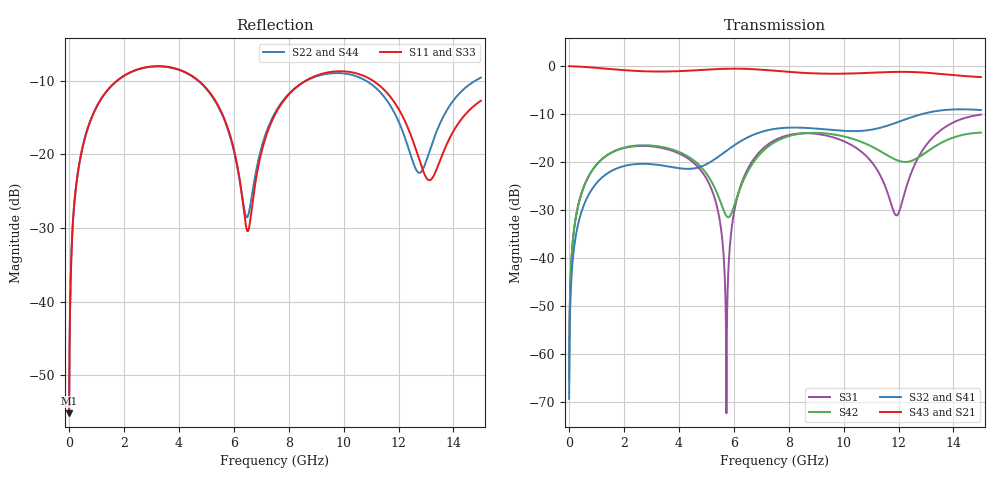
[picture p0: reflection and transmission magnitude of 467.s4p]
! Created with skrf 1.8.0 (http://scikit-rf.org).
# GHz S RI R 50.0
!freq ReS11 ImS11 ReS12 ImS12 ReS13 ImS13
! ReS14 ImS14
! ReS21 ImS21 ReS22 ImS22 ReS23 ImS23
! ReS24 ImS24
! ReS31 ImS31 ReS32 ImS32 ReS33 ImS33
! ReS34 ImS34
! ReS41 ImS41 ReS42 ImS42 ReS43 ImS43
! ReS44 ImS44
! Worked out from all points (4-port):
!   2499 points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, 5 MHz to 15 GHz, reference 50 ohm
!   strongest paths, dB at 5 MHz, 3.476 GHz, 7.19 GHz, 11.1 GHz, 15 GHz:
!     S43: 0.0, -1.1, -0.8, -1.4, -2.3
!     S21: 0.0, -1.1, -0.8, -1.4, -2.3
!     S32: -69.3, -20.8, -13.4, -13.2, -9.1
!     S41: -69.3, -20.8, -13.4, -13.2, -9.1
!     S42: -65.4, -16.9, -17.0, -17.0, -13.9
!     S31: -65.4, -17.2, -16.6, -20.5, -10.1
!   lowest |S11| = -55.2 dB at 5 MHz (marker M1), VSWR 1.00, Z = 50.1 + j0.106 ohm
!   |S11| at or under -10 dB: start of sweep to 1.744 GHz; 4.724 GHz to 8.613 GHz (3.889 GHz wide, 58.3 % of centre); 11.08 GHz to end of sweep
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0.005  0.00139 0.00106  0.9986 -0.0027  6.83e-05 0.000533  -6.65e-05 -0.000336
       0.9986 -0.0027  0.00139 0.00106  -6.65e-05 -0.000336  6.84e-05 0.000533
       6.83e-05 0.000533  -6.65e-05 -0.000336  0.00139 0.00106  0.9986 -0.0027
       -6.65e-05 -0.000336  6.84e-05 0.000533  0.9986 -0.0027  0.00139 0.00106
0.3126303  0.0182 0.0705  0.9754 -0.1692  0.00776 0.0322  -0.00659 -0.0202
           0.9754 -0.1692  0.0181 0.0705  -0.00659 -0.0202  0.00797 0.0321
           0.00776 0.0322  -0.00659 -0.0202  0.0182 0.0705  0.9754 -0.1692
           -0.00659 -0.0202  0.00797 0.0321  0.9754 -0.1692  0.0181 0.0705
1.569404  0.2244 0.1922  0.6442 -0.6683  0.1043 0.0711  -0.0789 -0.0208
          0.6442 -0.6683  0.2236 0.1925  -0.0789 -0.0208  0.1075 0.0677
          0.1043 0.0711  -0.0789 -0.0208  0.2244 0.1921  0.6443 -0.6682
          -0.0789 -0.0208  0.1075 0.0677  0.6443 -0.6682  0.2235 0.1925
4.845769  0.2333 -0.1914  -0.5771 -0.7062  0.055 -0.0567  -0.0491 0.0763
          -0.5771 -0.7062  0.2353 -0.1852  -0.0493 0.076  0.0388 -0.0774
          0.055 -0.0567  -0.0493 0.076  0.2322 -0.1911  -0.5774 -0.7065
          -0.0491 0.0763  0.0388 -0.0774  -0.5774 -0.7065  0.2348 -0.1841
5.733639  0.08 -0.1391  -0.847 -0.4037  0.00024 3.08e-05  -0.0523 0.1204
          -0.847 -0.4037  0.0847 -0.1327  -0.0528 0.1202  -0.0241 -0.0132
          0.00024 3.08e-05  -0.0528 0.1202  0.0787 -0.1382  -0.8473 -0.4037
          -0.0523 0.1204  -0.0241 -0.0132  -0.8473 -0.4037  0.0848 -0.131
7.221759  0.0862 0.1116  -0.862 0.2843  0.0897 0.1212  0.0918 0.1936
          -0.862 0.2843  0.0955 0.1125  0.0911 0.1941  0.0736 0.1227
          0.0897 0.1212  0.0911 0.1941  0.0854 0.1134  -0.8618 0.2842
          0.0918 0.1936  0.0736 0.1227  -0.8618 0.2842  0.0971 0.1133
15  0.2151 0.0859  0.538 -0.5502  0.3121 -0.00372  -0.3 -0.1781
    0.538 -0.5502  0.3178 0.0974  -0.2988 -0.1801  0.1636 0.1198
    0.3121 -0.00372  -0.2988 -0.1801  0.2149 0.0889  0.5408 -0.5474
    -0.3 -0.1781  0.1636 0.1198  0.5408 -0.5474  0.318 0.0979
